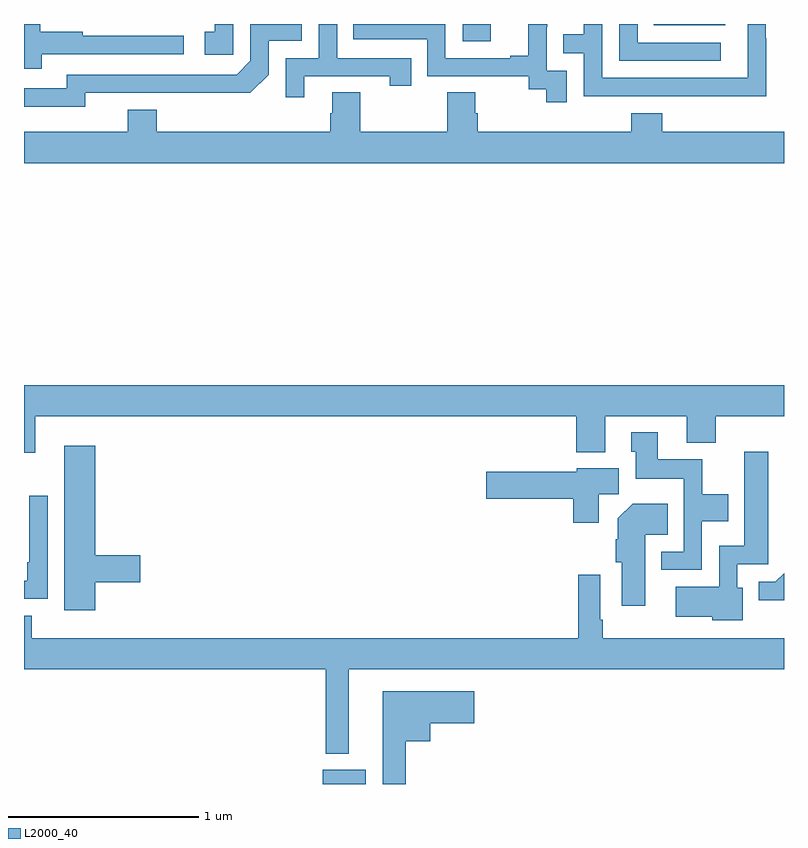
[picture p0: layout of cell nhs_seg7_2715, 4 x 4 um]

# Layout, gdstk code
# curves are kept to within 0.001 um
import gdstk
lib = gdstk.Library(unit=1e-6, precision=1e-09)
def R(c, l, rs):  # rectangles x0, y0, x1, y1
    for r in rs: c.add(gdstk.rectangle(r[:2], r[2:], *l))
def P(c, l, *ps):  # polygons
    for p in ps: c.add(gdstk.Polygon(p, *l))
L2000_40 = (2000, 40)

nhs_seg7_2715 = lib.new_cell('nhs_seg7_2715')
R(nhs_seg7_2715, L2000_40, [(288.572,1012,288.799,1012.075), (289.308,1015.908,289.456,1016), (290.314,1015.994,290.692,1016)])
P(nhs_seg7_2715, L2000_40, [(287.322,1015.638),(288.19,1015.637),(288.288,1015.734),(288.288,1015.911),(288.462,1015.911),(288.462,1016),(288.192,1016),(288.192,1015.806),(288.12,1015.734),(287.226,1015.734),(287.226,1015.662),(287,1015.662),(287,1015.565),(287.322,1015.565)],
  [(287.093,1015.842),(287.842,1015.842),(287.842,1015.938),(287.309,1015.938),(287.309,1015.958),(287.086,1015.958),(287.086,1016),(287,1016),(287,1015.764),(287.093,1015.764)],
  [(290.668,1015.902),(290.229,1015.902),(290.229,1016),(290.133,1016),(290.133,1015.806),(290.668,1015.806)],
  [(288.475,1015.725),(288.926,1015.725),(288.926,1015.674),(289.037,1015.674),(289.037,1015.821),(288.648,1015.821),(288.648,1016),(288.552,1016),(288.552,1015.821),(288.378,1015.821),(288.378,1015.614),(288.475,1015.614)],
  [(289.857,1015.755),(289.752,1015.755),(289.752,1015.985),(289.754,1015.985),(289.754,1016),(289.655,1016),(289.655,1015.834),(289.559,1015.834),(289.559,1015.821),(289.218,1015.821),(289.218,1016),(288.733,1016),(288.733,1015.92),(289.122,1015.92),(289.122,1015.725),(289.656,1015.725),(289.656,1015.657),(289.749,1015.657),(289.749,1015.587),(289.857,1015.587)],
  [(290.907,1015.925),(290.904,1015.925),(290.904,1016),(290.808,1016),(290.808,1015.716),(290.043,1015.716),(290.043,1016),(289.947,1016),(289.947,1015.946),(289.837,1015.946),(289.837,1015.845),(289.947,1015.845),(289.947,1015.62),(290.443,1015.62),(290.443,1015.619),(290.907,1015.619)],
  [(288.102,1016),(288.005,1016),(288.005,1015.959),(287.952,1015.959),(287.952,1015.839),(288.102,1015.839)],
  [(291,1015.432),(290.36,1015.432),(290.36,1015.531),(290.195,1015.531),(290.195,1015.432),(289.388,1015.432),(289.388,1015.53),(289.375,1015.53),(289.375,1015.64),(289.228,1015.64),(289.228,1015.432),(288.771,1015.432),(288.771,1015.64),(288.623,1015.64),(288.623,1015.53),(288.611,1015.53),(288.611,1015.432),(287.699,1015.432),(287.699,1015.549),(287.546,1015.549),(287.546,1015.432),(287,1015.432),(287,1015.268),(291,1015.268)],
  [(287.059,1013.936),(289.907,1013.936),(289.907,1013.747),(290.059,1013.747),(290.059,1013.936),(290.489,1013.936),(290.489,1013.795),(290.642,1013.795),(290.642,1013.936),(291,1013.936),(291,1014.1),(287,1014.1),(287,1013.744),(287.059,1013.744)],
  [(290.568,1013.384),(290.707,1013.384),(290.707,1013.524),(290.571,1013.524),(290.571,1013.71),(290.335,1013.71),(290.335,1013.851),(290.195,1013.851),(290.195,1013.748),(290.219,1013.748),(290.219,1013.606),(290.472,1013.606),(290.472,1013.223),(290.355,1013.223),(290.355,1013.127),(290.568,1013.127)],
  [(287.375,1013.062),(287.611,1013.062),(287.611,1013.204),(287.375,1013.204),(287.375,1013.779),(287.213,1013.779),(287.213,1012.914),(287.375,1012.914)],
  [(290.782,1013.034),(290.754,1013.034),(290.754,1013.157),(290.917,1013.157),(290.917,1013.749),(290.792,1013.749),(290.792,1013.254),(290.658,1013.254),(290.658,1013.038),(290.43,1013.038),(290.43,1012.88),(290.622,1012.88),(290.622,1012.862),(290.782,1012.862)],
  [(290.026,1013.524),(290.131,1013.524),(290.131,1013.662),(289.908,1013.662),(289.908,1013.643),(289.434,1013.643),(289.434,1013.501),(289.892,1013.501),(289.892,1013.376),(290.026,1013.376)],
  [(287.124,1013.518),(287.028,1013.518),(287.028,1013.167),(287.016,1013.167),(287.016,1013.071),(287,1013.071),(287,1012.974),(287.124,1012.974)],
  [(290.269,1013.312),(290.387,1013.312),(290.387,1013.476),(290.204,1013.476),(290.126,1013.398),(290.126,1013.288),(290.114,1013.288),(290.114,1013.166),(290.147,1013.166),(290.147,1012.938),(290.269,1012.938)],
  [(291,1013.109),(290.955,1013.064),(290.867,1013.064),(290.867,1012.967),(291,1012.967)],
  [(288.709,1012.604),(291,1012.604),(291,1012.768),(290.047,1012.768),(290.047,1012.864),(290.034,1012.864),(290.034,1013.101),(289.918,1013.101),(289.918,1012.768),(287.042,1012.768),(287.042,1012.885),(287,1012.885),(287,1012.604),(288.588,1012.604),(288.588,1012.16),(288.709,1012.16)],
  [(289.009,1012.226),(289.138,1012.226),(289.138,1012.319),(289.369,1012.319),(289.369,1012.489),(288.887,1012.489),(288.887,1012),(289.009,1012)])

lib.write_gds('nhs_seg7_2715.gds')
